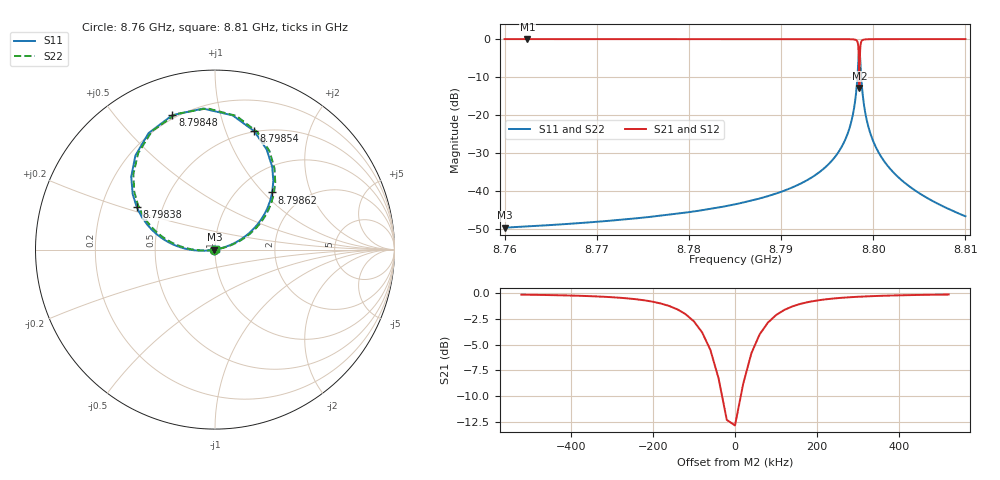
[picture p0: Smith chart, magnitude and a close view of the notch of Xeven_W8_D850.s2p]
! Sonnet Data File
! From: emgraph Version : 16.52
! From Project: Qubit_Xmon2_brg_para
! Data is De-embedded
! Data File Written: 10/25/2017 15:52:26
!< HDATE 10/25/2017 13:56:11
!< MDATE 10/25/2017 13:56:11
!< PARAMS
!< Lj = 11.0
!< Gap = 6.0
!< Pwid = 2000.0
!< Airgap = 6.0
!< Width = 10.0
!< Bwid = 8.0
!< Dis1 = 850.0
!< Dis2 = 856.0
!< END PARAMS
# GHZ S MA R 51.80000
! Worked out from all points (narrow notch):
!   2501 points, 8.76 GHz to 8.81 GHz, reference 51.8 ohm
!   highest |S21| = 0.00 dB at 8.76248 GHz (marker M1); lowest = -12.8 dB at 8.7985 GHz (marker M2)
!   notch at M2: 12.8 dB deep, 89.1 kHz wide at half that depth
!   lowest |S11| = -49.6 dB at 8.76 GHz (marker M3), VSWR 1.01, Z = 51.5 - j0.0602 ohm
!   |S11| at or under -10 dB: start of sweep to 8.798286 GHz; 8.798695 GHz to end of sweep
!   |S22| runs from -49.6 to -2.1 dB; largest |S21 - S12| = 0
!   S11 on the Smith chart (normalised r, x): 8.76 GHz: 0.99, -0.00; 8.79838 GHz: 0.36, +0.22; 8.79848 GHz: 0.18, +0.72; 8.79854 GHz: 0.49, +1.26; 8.79862 GHz: 1.41, +1.13; 8.81 GHz: 1.01, +0.00
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8.76  0.003304 -169.8  1 -80.4  1 -80.4  0.003304 -171.1
!< P1 F=8.76 Eeff=(6.44679147 -2.9786e-5) Z0=(51.7991429 1.19067e-4) R=0.0 C=0.0
!< P2 F=8.76 Eeff=(6.44679147 -2.9786e-5) Z0=(51.7991429 1.19067e-4) R=0.0 C=0.0
8.76248  0.00343 -169.8  1 -80.4  1 -80.4  0.00343 -171.2
8.76834  0.003811 -169.9  1 -80.5  1 -80.5  0.003811 -171.2
8.77668  0.004706 -170.0  1 -80.6  1 -80.6  0.004706 -171.4
8.785  0.006701 -170.1  1 -80.8  1 -80.8  0.006701 -171.6
8.79334  0.01517 -170.8  0.9998 -81.4  0.9998 -81.4  0.01517 -172.3
8.79556  0.02553 -171.5  0.9995 -82.0  0.9995 -82.0  0.02553 -173.1
8.79702  0.04934 -173.3  0.9982 -83.4  0.9982 -83.4  0.04934 -174.9
8.79766  0.08585 -175.9  0.9944 -85.5  0.9944 -85.5  0.08585 -177.5
8.79808  0.169 178.0  0.9781 -90.3  0.9781 -90.3  0.169 176.4
8.79824  0.2658 170.7  0.9448 -95.9  0.9448 -95.9  0.2658 169.1
8.79838  0.4954 151.6  0.7914 -109.8  0.7914 -109.8  0.4954 150.0
8.79848  0.7857 107.6  0.2425 -105.0  0.2425 -105.0  0.7857 106.0
8.7985  0.7885 94.8  0.2278 -61.3  0.2278 -61.3  0.7885 93.2
8.79854  0.6953 71.7  0.5122 -40.0  0.5122 -40.0  0.6953 70.1
8.79862  0.4503 45.0  0.8308 -54.1  0.8308 -54.1  0.4503 43.3
8.79876  0.2482 28.6  0.9517 -66.2  0.9517 -66.2  0.2482 26.9
8.79892  0.1598 21.9  0.9802 -71.4  0.9802 -71.4  0.1598 20.3
8.79954  0.06561 15.1  0.9967 -76.8  0.9967 -76.8  0.06561 13.4
8.80168  0.02066 11.8  0.9997 -79.4  0.9997 -79.4  0.02066 10.1
8.80498  0.009407 11.0  0.9999 -80.1  0.9999 -80.1  0.009407 9.3
8.81  0.004663 10.7  1 -80.4  1 -80.4  0.004663 8.9
